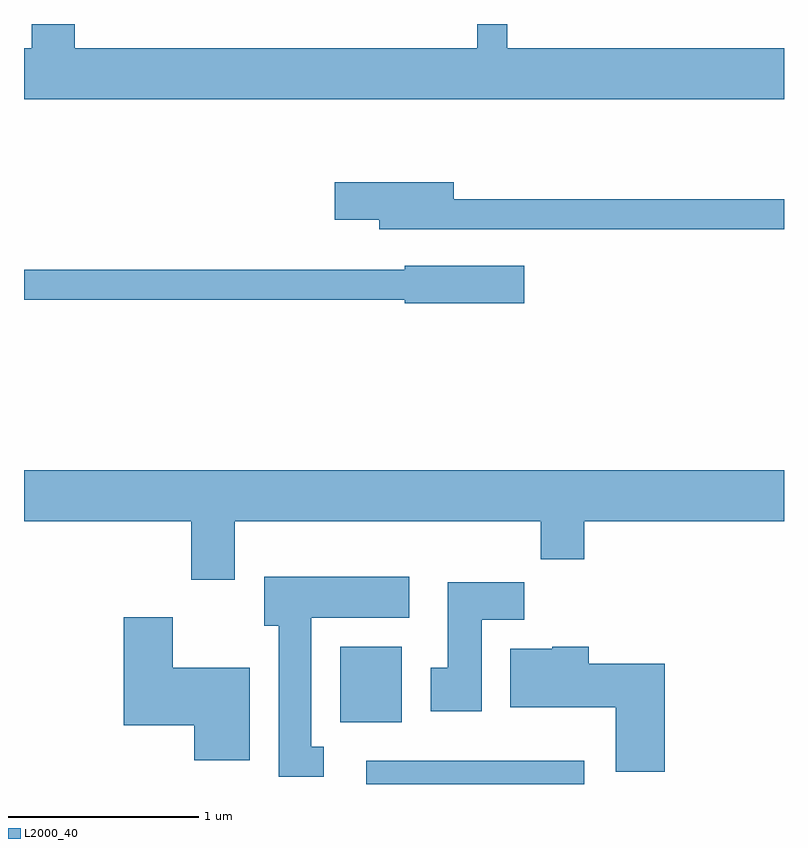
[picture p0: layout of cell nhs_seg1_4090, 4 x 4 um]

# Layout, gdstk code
import gdstk
lib = gdstk.Library(unit=1e-6, precision=1e-09)
def R(c, l, rs):  # rectangles x0, y0, x1, y1
    for r in rs: c.add(gdstk.rectangle(r[:2], r[2:], *l))
def P(c, l, *ps):  # polygons
    for p in ps: c.add(gdstk.Polygon(p, *l))
L2000_40 = (2000, 40)

nhs_seg1_4090 = lib.new_cell('nhs_seg1_4090')
R(nhs_seg1_4090, L2000_40, [(309.411,933.712,310.559,933.834), (309.276,934.036,309.599,934.434)])
P(nhs_seg1_4090, L2000_40, [(311.611,937.584),(310.154,937.584),(310.154,937.712),(309.996,937.712),(309.996,937.584),(307.879,937.584),(307.879,937.712),(307.651,937.712),(307.651,937.584),(307.611,937.584),(307.611,937.316),(311.611,937.316)],
  [(311.611,936.789),(309.874,936.789),(309.874,936.879),(309.246,936.879),(309.246,936.681),(309.481,936.681),(309.481,936.631),(311.611,936.631)],
  [(310.244,936.439),(309.616,936.439),(309.616,936.419),(307.611,936.419),(307.611,936.261),(309.616,936.261),(309.616,936.241),(310.244,936.241)],
  [(308.719,935.096),(310.331,935.096),(310.331,934.896),(310.559,934.896),(310.559,935.096),(311.611,935.096),(311.611,935.364),(307.611,935.364),(307.611,935.096),(308.491,935.096),(308.491,934.786),(308.719,934.786)],
  [(309.188,933.909),(309.124,933.909),(309.124,934.586),(309.639,934.586),(309.639,934.804),(308.876,934.804),(308.876,934.546),(308.951,934.546),(308.951,933.751),(309.188,933.751)],
  [(310.019,934.576),(310.244,934.576),(310.244,934.774),(309.841,934.774),(309.841,934.324),(309.751,934.324),(309.751,934.096),(310.019,934.096)],
  [(308.799,934.324),(308.394,934.324),(308.394,934.589),(308.136,934.589),(308.136,934.021),(308.506,934.021),(308.506,933.836),(308.799,933.836)],
  [(310.984,934.344),(310.584,934.344),(310.584,934.434),(310.39,934.434),(310.39,934.424),(310.171,934.424),(310.171,934.116),(310.726,934.116),(310.726,933.776),(310.984,933.776)])

lib.write_gds('nhs_seg1_4090.gds')
